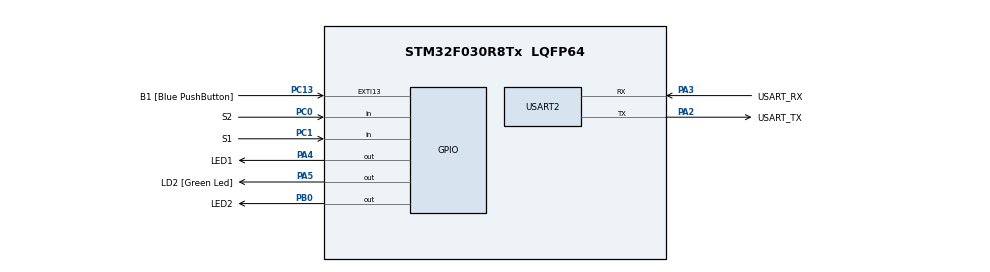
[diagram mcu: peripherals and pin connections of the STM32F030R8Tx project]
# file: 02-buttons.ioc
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Mcu.Family=STM32F0
Mcu.Name=STM32F030R8Tx
Mcu.Package=LQFP64
PA13.GPIO_Label=TMS
PA13.Mode=Serial_Wire
PA13.Signal=SYS_SWDIO
PA14.GPIO_Label=TCK
PA14.Mode=Serial_Wire
PA14.Signal=SYS_SWCLK
PA2.GPIO_Label=USART_TX
PA2.GPIO_Mode=GPIO_MODE_AF_PP
PA2.GPIO_PuPd=GPIO_NOPULL
PA2.GPIO_Speed=GPIO_SPEED_FREQ_LOW
PA2.Mode=Asynchronous
PA2.Signal=USART2_TX
PA3.GPIO_Label=USART_RX
PA3.GPIO_Mode=GPIO_MODE_AF_PP
PA3.GPIO_PuPd=GPIO_NOPULL
PA3.GPIO_Speed=GPIO_SPEED_FREQ_LOW
PA3.Mode=Asynchronous
PA3.Signal=USART2_RX
PA4.GPIO_Label=LED1
PA4.Signal=GPIO_Output
PA5.GPIO_Label=LD2 [Green Led]
PA5.GPIO_Mode=GPIO_MODE_OUTPUT_PP
PA5.GPIO_PuPd=GPIO_NOPULL
PA5.GPIO_Speed=GPIO_SPEED_FREQ_LOW
PA5.Signal=GPIO_Output
PB0.GPIO_Label=LED2
PB0.Signal=GPIO_Output
PC0.GPIO_Label=S2
PC0.GPIO_PuPd=GPIO_PULLUP
PC0.Signal=GPIO_Input
PC1.GPIO_Label=S1
PC1.GPIO_PuPd=GPIO_PULLUP
PC1.Signal=GPIO_Input
PC13.GPIO_Label=B1 [Blue PushButton]
PC13.GPIO_ModeDefaultEXTI=GPIO_MODE_IT_FALLING
PC13.Signal=GPXTI13
PC14-OSC32_IN.Mode=LSE-External-Oscillator
PC14-OSC32_IN.Signal=RCC_OSC32_IN
PC15-OSC32_OUT.Mode=LSE-External-Oscillator
PC15-OSC32_OUT.Signal=RCC_OSC32_OUT
PF0-OSC_IN.Mode=HSE-External-Clock-Source
PF0-OSC_IN.Signal=RCC_OSC_IN
PF1-OSC_OUT.Signal=RCC_OSC_OUT
ProjectManager.HeapSize=0x200
ProjectManager.StackSize=0x400
ProjectManager.TargetToolchain=STM32CubeIDE
RCC.AHBFreq_Value=48000000
RCC.APB1Freq_Value=48000000
RCC.APB1TimFreq_Value=48000000
RCC.HCLKFreq_Value=48000000
RCC.PLLMUL=RCC_PLL_MUL12
RCC.SYSCLKFreq_VALUE=48000000
RCC.SYSCLKSource=RCC_SYSCLKSOURCE_PLLCLK
USART2.VirtualMode-Asynchronous=VM_ASYNC
board=NUCLEO-F030R8

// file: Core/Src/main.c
/* USER CODE BEGIN Header */
/**
  ******************************************************************************
  * @file           : main.c
  * @brief          : Main program body
  ******************************************************************************
  * @attention
  *
  * Copyright (c) 2024 STMicroelectronics.
  * All rights reserved.
  *
  * This software is licensed under terms that can be found in the LICENSE file
  * in the root directory of this software component.
  * If no LICENSE file comes with this software, it is provided AS-IS.
  *
  ******************************************************************************
  */
/* USER CODE END Header */
#include "main.h"

/* USER CODE BEGIN PD */

#define BLINK_TIME 300
#define BUTTON_PERIOD 40
#define LED_TIME_SHORT 100
#define LED_TIME_LONG 1000

/* USER CODE END PD */

/* USER CODE BEGIN PV */

volatile uint32_t Tick; 	//volatile means all optimizations disabled on this variable (when we use variable in multiple places/files of code)

/* USER CODE END PV */

void SystemClock_Config(void);
static void MX_GPIO_Init(void);
static void MX_USART2_UART_Init(void);

/* USER CODE BEGIN 0 */

// timing something without using blocking delay() function
static void blink()	// static makes this function only accessible from this module (function is therefore not global)
{

	static uint32_t last_blink_tick;	// in this case static means that variable remembers its value from previous call of function

	if (Tick > last_blink_tick + BLINK_TIME)
	{
		last_blink_tick = Tick;		// sets the current MCU tick time in the last time the led has blinked

		// Code
		LL_GPIO_TogglePin(LED1_GPIO_Port, LED1_Pin);	// toggle function of LL library
	}

}

static void button()
{

	static uint32_t off_time;
	//static uint32_t old_s1;
	//static uint32_t old_s2;

	static uint32_t last_shift;

	//uint32_t new_s2 = LL_GPIO_IsInputPinSet(S2_GPIO_Port, S2_Pin);	// 0 if button is pressed and 1 if button is not pressed
	uint32_t new_s1 = LL_GPIO_IsInputPinSet(S1_GPIO_Port, S1_Pin);

	if (Tick > last_shift + 5)
	{
		static uint16_t debounce = 0xFFFF;
		debounce <<= 1;

		if (new_s1)
		{
			debounce |= 0x0001;	// enters 1s
		}

		if (debounce == 0x8000)	// 0x7FFF for rising edge, 0x8000 is for falling edge
		{
			off_time = Tick + LED_TIME_LONG;
			LL_GPIO_SetOutputPin(LED2_GPIO_Port, LED2_Pin);
		}

		if (Tick > off_time)
		{
			LL_GPIO_ResetOutputPin(LED2_GPIO_Port, LED2_Pin);
		}

		last_shift = Tick;
	}

	/*
	if (old_s2 && !new_s2) 	// detection of falling edge
	{

		off_time = Tick + LED_TIME_SHORT;
		LL_GPIO_SetOutputPin(LED2_GPIO_Port, LED2_Pin);

	}

	if (old_s1 && !new_s1) 	// detection of falling edge
	{

		off_time = Tick + LED_TIME_LONG;
		LL_GPIO_SetOutputPin(LED2_GPIO_Port, LED2_Pin);

	}
	*/

	//old_s1 = new_s1;
	//old_s2 = new_s2;

}

/* USER CODE END 0 */

int main(void)
{

  /* MCU Configuration--------------------------------------------------------*/

  /* Reset of all peripherals, Initializes the Flash interface and the Systick. */
  LL_APB1_GRP2_EnableClock(LL_APB1_GRP2_PERIPH_SYSCFG);
  LL_APB1_GRP1_EnableClock(LL_APB1_GRP1_PERIPH_PWR);

  /* Configure the system clock */
  SystemClock_Config();

  /* Initialize all configured peripherals */
  MX_GPIO_Init();
  MX_USART2_UART_Init();
  /* USER CODE BEGIN 2 */

  // LL libraries do not enable SysTick interrupt handling by default
  LL_SYSTICK_EnableIT();	//enable of systick in LL library, it must be after SystemClock_Config()

  /* USER CODE END 2 */

  /* Infinite loop */
  /* USER CODE BEGIN WHILE */
  while (1)
  {

	  // LED blinking function
	  blink();

	  // Button handler function
	  /*
	  static uint32_t last_button_tick;

	  if (Tick > last_button_tick + BUTTON_PERIOD)
	  {
		  last_button_tick = Tick;
		  button();
	  }
	  */

	  button();

    /* USER CODE END WHILE */

  }
}

void SystemClock_Config(void)
{
  LL_FLASH_SetLatency(LL_FLASH_LATENCY_1);
  while(LL_FLASH_GetLatency() != LL_FLASH_LATENCY_1)
  {
  }
  LL_RCC_HSI_Enable();

   /* Wait till HSI is ready */
  while(LL_RCC_HSI_IsReady() != 1)
  {

  }
  LL_RCC_HSI_SetCalibTrimming(16);
  LL_RCC_PLL_ConfigDomain_SYS(LL_RCC_PLLSOURCE_HSI_DIV_2, LL_RCC_PLL_MUL_12);
  LL_RCC_PLL_Enable();

   /* Wait till PLL is ready */
  while(LL_RCC_PLL_IsReady() != 1)
  {

  }
  LL_RCC_SetAHBPrescaler(LL_RCC_SYSCLK_DIV_1);
  LL_RCC_SetAPB1Prescaler(LL_RCC_APB1_DIV_1);
  LL_RCC_SetSysClkSource(LL_RCC_SYS_CLKSOURCE_PLL);

   /* Wait till System clock is ready */
  while(LL_RCC_GetSysClkSource() != LL_RCC_SYS_CLKSOURCE_STATUS_PLL)
  {

  }
  LL_Init1msTick(48000000);
  LL_SetSystemCoreClock(48000000);
}

static void MX_USART2_UART_Init(void)
{

  LL_USART_InitTypeDef USART_InitStruct = {0};

  LL_GPIO_InitTypeDef GPIO_InitStruct = {0};

  /* Peripheral clock enable */
  LL_APB1_GRP1_EnableClock(LL_APB1_GRP1_PERIPH_USART2);

  LL_AHB1_GRP1_EnableClock(LL_AHB1_GRP1_PERIPH_GPIOA);
  /**USART2 GPIO Configuration
  PA2   ------> USART2_TX
  PA3   ------> USART2_RX
  */
  GPIO_InitStruct.Pin = USART_TX_Pin;
  GPIO_InitStruct.Mode = LL_GPIO_MODE_ALTERNATE;
  GPIO_InitStruct.Speed = LL_GPIO_SPEED_FREQ_LOW;
  GPIO_InitStruct.OutputType = LL_GPIO_OUTPUT_PUSHPULL;
  GPIO_InitStruct.Pull = LL_GPIO_PULL_NO;
  GPIO_InitStruct.Alternate = LL_GPIO_AF_1;
  LL_GPIO_Init(USART_TX_GPIO_Port, &GPIO_InitStruct);

  GPIO_InitStruct.Pin = USART_RX_Pin;
  GPIO_InitStruct.Mode = LL_GPIO_MODE_ALTERNATE;
  GPIO_InitStruct.Speed = LL_GPIO_SPEED_FREQ_LOW;
  GPIO_InitStruct.OutputType = LL_GPIO_OUTPUT_PUSHPULL;
  GPIO_InitStruct.Pull = LL_GPIO_PULL_NO;
  GPIO_InitStruct.Alternate = LL_GPIO_AF_1;
  LL_GPIO_Init(USART_RX_GPIO_Port, &GPIO_InitStruct);

  USART_InitStruct.BaudRate = 38400;
  USART_InitStruct.DataWidth = LL_USART_DATAWIDTH_8B;
  USART_InitStruct.StopBits = LL_USART_STOPBITS_1;
  USART_InitStruct.Parity = LL_USART_PARITY_NONE;
  USART_InitStruct.TransferDirection = LL_USART_DIRECTION_TX_RX;
  USART_InitStruct.HardwareFlowControl = LL_USART_HWCONTROL_NONE;
  USART_InitStruct.OverSampling = LL_USART_OVERSAMPLING_16;
  LL_USART_Init(USART2, &USART_InitStruct);
  LL_USART_DisableIT_CTS(USART2);
  LL_USART_ConfigAsyncMode(USART2);
  LL_USART_Enable(USART2);

}

static void MX_GPIO_Init(void)
{
  LL_EXTI_InitTypeDef EXTI_InitStruct = {0};
  LL_GPIO_InitTypeDef GPIO_InitStruct = {0};

  /* GPIO Ports Clock Enable */
  LL_AHB1_GRP1_EnableClock(LL_AHB1_GRP1_PERIPH_GPIOC);
  LL_AHB1_GRP1_EnableClock(LL_AHB1_GRP1_PERIPH_GPIOF);
  LL_AHB1_GRP1_EnableClock(LL_AHB1_GRP1_PERIPH_GPIOA);
  LL_AHB1_GRP1_EnableClock(LL_AHB1_GRP1_PERIPH_GPIOB);

  /**/
  LL_GPIO_ResetOutputPin(LED1_GPIO_Port, LED1_Pin);

  /**/
  LL_GPIO_ResetOutputPin(LD2_GPIO_Port, LD2_Pin);

  /**/
  LL_GPIO_ResetOutputPin(LED2_GPIO_Port, LED2_Pin);

  /**/
  LL_SYSCFG_SetEXTISource(LL_SYSCFG_EXTI_PORTC, LL_SYSCFG_EXTI_LINE13);

  /**/
  LL_GPIO_SetPinPull(B1_GPIO_Port, B1_Pin, LL_GPIO_PULL_NO);

  /**/
  LL_GPIO_SetPinMode(B1_GPIO_Port, B1_Pin, LL_GPIO_MODE_INPUT);

  /**/
  EXTI_InitStruct.Line_0_31 = LL_EXTI_LINE_13;
  EXTI_InitStruct.LineCommand = ENABLE;
  EXTI_InitStruct.Mode = LL_EXTI_MODE_IT;
  EXTI_InitStruct.Trigger = LL_EXTI_TRIGGER_FALLING;
  LL_EXTI_Init(&EXTI_InitStruct);

  /**/
  GPIO_InitStruct.Pin = S2_Pin;
  GPIO_InitStruct.Mode = LL_GPIO_MODE_INPUT;
  GPIO_InitStruct.Pull = LL_GPIO_PULL_UP;
  LL_GPIO_Init(S2_GPIO_Port, &GPIO_InitStruct);

  /**/
  GPIO_InitStruct.Pin = S1_Pin;
  GPIO_InitStruct.Mode = LL_GPIO_MODE_INPUT;
  GPIO_InitStruct.Pull = LL_GPIO_PULL_UP;
  LL_GPIO_Init(S1_GPIO_Port, &GPIO_InitStruct);

  /**/
  GPIO_InitStruct.Pin = LED1_Pin;
  GPIO_InitStruct.Mode = LL_GPIO_MODE_OUTPUT;
  GPIO_InitStruct.Speed = LL_GPIO_SPEED_FREQ_LOW;
  GPIO_InitStruct.OutputType = LL_GPIO_OUTPUT_PUSHPULL;
  GPIO_InitStruct.Pull = LL_GPIO_PULL_NO;
  LL_GPIO_Init(LED1_GPIO_Port, &GPIO_InitStruct);

  /**/
  GPIO_InitStruct.Pin = LD2_Pin;
  GPIO_InitStruct.Mode = LL_GPIO_MODE_OUTPUT;
  GPIO_InitStruct.Speed = LL_GPIO_SPEED_FREQ_LOW;
  GPIO_InitStruct.OutputType = LL_GPIO_OUTPUT_PUSHPULL;
  GPIO_InitStruct.Pull = LL_GPIO_PULL_NO;
  LL_GPIO_Init(LD2_GPIO_Port, &GPIO_InitStruct);

  /**/
  GPIO_InitStruct.Pin = LED2_Pin;
  GPIO_InitStruct.Mode = LL_GPIO_MODE_OUTPUT;
  GPIO_InitStruct.Speed = LL_GPIO_SPEED_FREQ_LOW;
  GPIO_InitStruct.OutputType = LL_GPIO_OUTPUT_PUSHPULL;
  GPIO_InitStruct.Pull = LL_GPIO_PULL_NO;
  LL_GPIO_Init(LED2_GPIO_Port, &GPIO_InitStruct);

}

void Error_Handler(void)
{
  __disable_irq();
  while (1)
  {
  }
}
